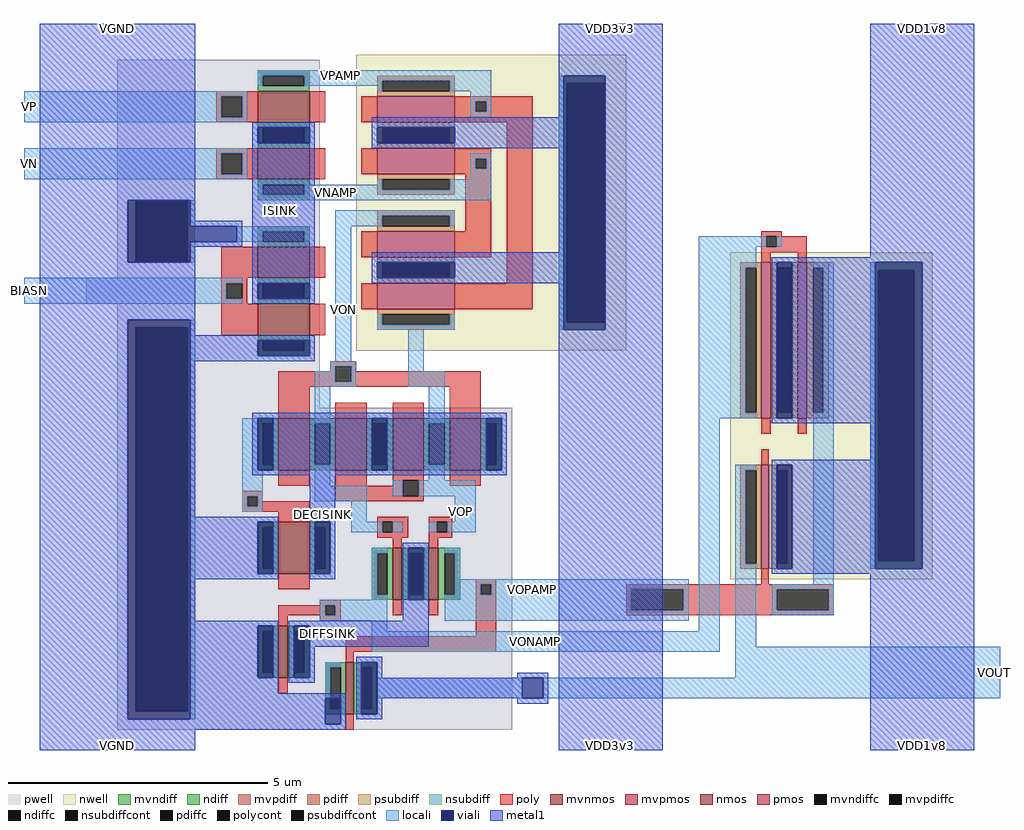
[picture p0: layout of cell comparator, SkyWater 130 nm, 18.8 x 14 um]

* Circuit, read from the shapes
.subckt comparator VGND VDD3v3 VDD1v8 VOUT BIASN VN VP
XM1 ISINK BIASN VGND VGND sky130_fd_pr__nfet_g5v0d10v5 w=1 l=0.6 m=2
XM2 ISINK VN VNAMP VGND sky130_fd_pr__nfet_g5v0d10v5 w=1 l=0.6
XM3 VPAMP VP ISINK VGND sky130_fd_pr__nfet_g5v0d10v5 w=1 l=0.6
XM4 DIFFSINK VONAMP VGND VGND sky130_fd_pr__nfet_01v8 w=1 l=0.18
XM5 DECISINK DECISINK VGND VGND sky130_fd_pr__nfet_g5v0d10v5 w=1 l=0.6
XM6 VON VON DECISINK VGND sky130_fd_pr__nfet_g5v0d10v5 w=1 l=0.6
XM7 DECISINK VOP VON VGND sky130_fd_pr__nfet_g5v0d10v5 w=1 l=0.6
XM8 VOUT VOPAMP VGND VGND sky130_fd_pr__nfet_01v8 w=1 l=0.15
XM9 DIFFSINK VON VONAMP VGND sky130_fd_pr__nfet_01v8 w=1 l=0.18
XM10 VOP VOP DECISINK VGND sky130_fd_pr__nfet_g5v0d10v5 w=1 l=0.6
XM11 VOPAMP VOP DIFFSINK VGND sky130_fd_pr__nfet_01v8 w=1 l=0.18
XM12 DECISINK VON VOP VGND sky130_fd_pr__nfet_g5v0d10v5 w=1 l=0.6
XM13 VDD3v3 VPAMP VOP VDD3v3 sky130_fd_pr__pfet_g5v0d10v5 w=1.5 l=0.5
XM14 VON VNAMP VDD3v3 VDD3v3 sky130_fd_pr__pfet_g5v0d10v5 w=1.5 l=0.5
XM15 VDD3v3 VNAMP VNAMP VDD3v3 sky130_fd_pr__pfet_g5v0d10v5 w=1.5 l=0.5
XM16 VPAMP VPAMP VDD3v3 VDD3v3 sky130_fd_pr__pfet_g5v0d10v5 w=1.5 l=0.5
XM17 VDD1v8 VOPAMP VOUT VDD1v8 sky130_fd_pr__pfet_01v8 w=2 l=0.15
XM18 VDD1v8 VONAMP VONAMP VDD1v8 sky130_fd_pr__pfet_01v8 w=3 l=0.18
XM19 VOPAMP VONAMP VDD1v8 VDD1v8 sky130_fd_pr__pfet_01v8 w=3 l=0.18
.ends

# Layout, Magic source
magic
tech sky130A
<< nwell >>
rect 210 -330 730 240
rect 930 -770 1320 -140
<< pwell >>
rect -250 -190 140 230
rect -310 -240 140 -190
rect -250 -270 140 -240
rect -250 -1040 -230 -270
rect -215 -1025 -115 -285
rect -110 -440 140 -270
rect -110 -1040 510 -440
rect -250 -1060 510 -1040
<< nmos >>
rect 280 -810 298 -710
rect 350 -810 368 -710
rect 60 -960 78 -860
rect 190 -1030 205 -930
<< pmos >>
rect 990 -460 1008 -160
rect 1060 -460 1078 -160
rect 990 -750 1005 -550
<< mvnmos >>
rect 20 110 120 170
rect 20 0 120 60
rect 20 -190 120 -130
rect 20 -300 120 -240
rect 60 -560 120 -460
rect 170 -560 230 -460
rect 280 -560 340 -460
rect 390 -560 450 -460
rect 60 -760 120 -660
<< mvpmos >>
rect 250 110 400 160
rect 250 10 400 60
rect 250 -150 400 -100
rect 250 -250 400 -200
<< ndiff >>
rect 240 -720 280 -710
rect 240 -800 250 -720
rect 270 -800 280 -720
rect 240 -810 280 -800
rect 298 -720 350 -710
rect 298 -800 310 -720
rect 340 -800 350 -720
rect 298 -810 350 -800
rect 368 -720 410 -710
rect 368 -800 380 -720
rect 400 -800 410 -720
rect 368 -810 410 -800
rect 20 -870 60 -860
rect 20 -950 30 -870
rect 50 -950 60 -870
rect 20 -960 60 -950
rect 78 -870 120 -860
rect 78 -950 90 -870
rect 110 -950 120 -870
rect 78 -960 120 -950
rect 150 -940 190 -930
rect 150 -1020 160 -940
rect 180 -1020 190 -940
rect 150 -1030 190 -1020
rect 205 -940 250 -930
rect 205 -1020 220 -940
rect 240 -1020 250 -940
rect 205 -1030 250 -1020
<< pdiff >>
rect 950 -170 990 -160
rect 950 -450 960 -170
rect 980 -450 990 -170
rect 950 -460 990 -450
rect 1008 -170 1060 -160
rect 1008 -450 1020 -170
rect 1050 -450 1060 -170
rect 1008 -460 1060 -450
rect 1078 -170 1120 -160
rect 1078 -450 1090 -170
rect 1110 -450 1120 -170
rect 1078 -460 1120 -450
rect 950 -560 990 -550
rect 950 -740 960 -560
rect 980 -740 990 -560
rect 950 -750 990 -740
rect 1005 -560 1050 -550
rect 1005 -740 1020 -560
rect 1040 -740 1050 -560
rect 1005 -750 1050 -740
<< mvndiff >>
rect 20 200 120 210
rect 20 180 30 200
rect 110 180 120 200
rect 20 170 120 180
rect 20 100 120 110
rect 20 70 30 100
rect 110 70 120 100
rect 20 60 120 70
rect 20 -10 120 0
rect 20 -30 30 -10
rect 110 -30 120 -10
rect 20 -40 120 -30
rect 20 -100 120 -90
rect 20 -120 30 -100
rect 110 -120 120 -100
rect 20 -130 120 -120
rect 20 -200 120 -190
rect 20 -230 30 -200
rect 110 -230 120 -200
rect 20 -240 120 -230
rect 20 -310 120 -300
rect 20 -330 30 -310
rect 110 -330 120 -310
rect 20 -340 120 -330
rect 20 -470 60 -460
rect 20 -550 30 -470
rect 50 -550 60 -470
rect 20 -560 60 -550
rect 120 -470 170 -460
rect 120 -550 130 -470
rect 160 -550 170 -470
rect 120 -560 170 -550
rect 230 -470 280 -460
rect 230 -550 240 -470
rect 270 -550 280 -470
rect 230 -560 280 -550
rect 340 -470 390 -460
rect 340 -550 350 -470
rect 380 -550 390 -470
rect 340 -560 390 -550
rect 450 -470 490 -460
rect 450 -550 460 -470
rect 480 -550 490 -470
rect 450 -560 490 -550
rect 20 -670 60 -660
rect 20 -750 30 -670
rect 50 -750 60 -670
rect 20 -760 60 -750
rect 120 -670 160 -660
rect 120 -750 130 -670
rect 150 -750 160 -670
rect 120 -760 160 -750
<< mvpdiff >>
rect 250 190 400 200
rect 250 170 260 190
rect 390 170 400 190
rect 250 160 400 170
rect 250 100 400 110
rect 250 70 260 100
rect 390 70 400 100
rect 250 60 400 70
rect 250 0 400 10
rect 250 -20 260 0
rect 390 -20 400 0
rect 250 -30 400 -20
rect 250 -70 400 -60
rect 250 -90 260 -70
rect 390 -90 400 -70
rect 250 -100 400 -90
rect 250 -160 400 -150
rect 250 -190 260 -160
rect 390 -190 400 -160
rect 250 -200 400 -190
rect 250 -260 400 -250
rect 250 -280 260 -260
rect 390 -280 400 -260
rect 250 -290 400 -280
<< ndiffc >>
rect 250 -800 270 -720
rect 310 -800 340 -720
rect 380 -800 400 -720
rect 30 -950 50 -870
rect 90 -950 110 -870
rect 160 -1020 180 -940
rect 220 -1020 240 -940
<< pdiffc >>
rect 960 -450 980 -170
rect 1020 -450 1050 -170
rect 1090 -450 1110 -170
rect 960 -740 980 -560
rect 1020 -740 1040 -560
<< mvndiffc >>
rect 30 180 110 200
rect 30 70 110 100
rect 30 -30 110 -10
rect 30 -120 110 -100
rect 30 -230 110 -200
rect 30 -330 110 -310
rect 30 -550 50 -470
rect 130 -550 160 -470
rect 240 -550 270 -470
rect 350 -550 380 -470
rect 460 -550 480 -470
rect 30 -750 50 -670
rect 130 -750 150 -670
<< mvpdiffc >>
rect 260 170 390 190
rect 260 70 390 100
rect 260 -20 390 0
rect 260 -90 390 -70
rect 260 -190 390 -160
rect 260 -280 390 -260
<< psubdiff >>
rect -230 -160 -215 -40
rect -115 -160 -100 -40
rect -230 -285 -100 -270
rect -230 -1025 -215 -285
rect -115 -1025 -100 -285
rect -230 -1040 -100 -1025
<< nsubdiff >>
rect 600 185 690 200
rect 600 -275 615 185
rect 600 -290 690 -275
rect 1200 -175 1300 -160
rect 1200 -735 1215 -175
rect 1285 -735 1300 -175
rect 1200 -750 1300 -735
<< psubdiffcont >>
rect -215 -160 -115 -40
rect -215 -1025 -115 -285
<< nsubdiffcont >>
rect 615 -275 690 185
rect 1215 -735 1285 -175
<< poly >>
rect -60 160 20 170
rect -60 120 -50 160
rect -10 120 20 160
rect -60 110 20 120
rect 120 110 150 170
rect 220 110 250 160
rect 400 150 550 160
rect 400 130 440 150
rect 460 130 550 150
rect 400 110 550 130
rect -60 50 20 60
rect -60 10 -50 50
rect -10 10 20 50
rect -60 0 20 10
rect 120 0 150 60
rect 220 10 250 60
rect 400 40 470 60
rect 400 20 440 40
rect 460 20 470 40
rect 400 10 470 20
rect 420 -100 470 10
rect -50 -190 20 -130
rect 120 -190 150 -130
rect 220 -150 250 -100
rect 400 -150 470 -100
rect -50 -200 0 -190
rect -50 -230 -40 -200
rect -10 -230 0 -200
rect -50 -240 0 -230
rect 500 -200 550 110
rect -50 -300 20 -240
rect 120 -300 150 -240
rect 220 -250 250 -200
rect 400 -250 550 -200
rect 990 -110 1030 -100
rect 990 -130 1000 -110
rect 1020 -130 1078 -110
rect 990 -140 1078 -130
rect 990 -160 1008 -140
rect 1060 -160 1078 -140
rect 160 -360 210 -350
rect 160 -370 170 -360
rect 60 -390 170 -370
rect 200 -370 210 -360
rect 200 -390 450 -370
rect 60 -400 450 -390
rect 60 -460 120 -400
rect 170 -460 230 -430
rect 280 -460 340 -430
rect 390 -460 450 -400
rect 990 -490 1008 -460
rect 1060 -490 1078 -460
rect 990 -550 1005 -520
rect 60 -590 120 -560
rect 170 -590 230 -560
rect 280 -580 340 -560
rect 280 -590 300 -580
rect -10 -610 30 -600
rect -10 -630 0 -610
rect 20 -620 30 -610
rect 170 -610 300 -590
rect 330 -610 340 -580
rect 390 -590 450 -560
rect 170 -620 340 -610
rect 20 -630 120 -620
rect -10 -640 120 -630
rect 60 -660 120 -640
rect 250 -660 310 -650
rect 250 -680 260 -660
rect 280 -680 310 -660
rect 250 -690 310 -680
rect 350 -660 395 -650
rect 350 -680 365 -660
rect 385 -680 395 -660
rect 350 -690 395 -680
rect 280 -710 298 -690
rect 350 -710 368 -690
rect 60 -790 120 -760
rect 440 -780 480 -770
rect 990 -780 1005 -750
rect 440 -800 450 -780
rect 470 -800 480 -780
rect 140 -820 180 -810
rect 60 -840 150 -820
rect 170 -840 180 -820
rect 280 -840 298 -810
rect 350 -840 368 -810
rect 60 -860 78 -840
rect 140 -850 180 -840
rect 440 -880 480 -800
rect 730 -790 1130 -780
rect 730 -830 740 -790
rect 840 -830 1020 -790
rect 1120 -830 1130 -790
rect 730 -840 1130 -830
rect 190 -910 480 -880
rect 190 -930 205 -910
rect 60 -990 78 -960
rect 190 -1060 205 -1030
<< polycont >>
rect -50 120 -10 160
rect 440 130 460 150
rect -50 10 -10 50
rect 440 20 460 40
rect -40 -230 -10 -200
rect 1000 -130 1020 -110
rect 170 -390 200 -360
rect 0 -630 20 -610
rect 300 -610 330 -580
rect 260 -680 280 -660
rect 365 -680 385 -660
rect 450 -800 470 -780
rect 150 -840 170 -820
rect 740 -830 840 -790
rect 1020 -830 1120 -790
<< locali >>
rect 20 200 470 210
rect 20 180 30 200
rect 110 190 470 200
rect 110 180 260 190
rect 250 170 260 180
rect 390 170 470 190
rect -430 160 0 170
rect -430 120 -50 160
rect -10 120 0 160
rect 430 150 470 170
rect 430 130 440 150
rect 460 130 470 150
rect 430 120 470 130
rect -430 110 0 120
rect -430 50 0 60
rect -430 10 -50 50
rect -10 10 0 50
rect -430 0 0 10
rect 430 40 470 50
rect 430 20 440 40
rect 460 20 470 40
rect 430 0 470 20
rect 250 -10 260 0
rect 20 -30 30 -10
rect 110 -20 260 -10
rect 390 -20 470 0
rect 110 -30 470 -20
rect 20 -40 470 -30
rect -110 -90 -100 -40
rect 170 -70 400 -60
rect 170 -90 260 -70
rect 390 -90 400 -70
rect -20 -100 120 -90
rect -20 -120 30 -100
rect 110 -120 120 -100
rect -110 -160 -100 -120
rect -430 -200 -10 -190
rect -430 -230 -40 -200
rect -430 -240 -10 -230
rect -110 -1040 -100 -270
rect 170 -350 200 -90
rect 250 -280 260 -260
rect 390 -280 400 -260
rect 250 -290 400 -280
rect 600 -290 610 200
rect 870 -130 1000 -110
rect 1020 -130 1030 -110
rect 870 -170 980 -130
rect 160 -360 210 -350
rect 160 -370 170 -360
rect 130 -390 170 -370
rect 200 -390 210 -360
rect 130 -400 210 -390
rect 310 -370 340 -290
rect 310 -400 380 -370
rect -10 -560 20 -460
rect 130 -470 160 -400
rect -10 -610 30 -560
rect -10 -630 0 -610
rect 20 -630 30 -610
rect 130 -590 160 -550
rect 350 -470 380 -400
rect 870 -450 960 -170
rect 870 -460 980 -450
rect 1090 -170 1130 -160
rect 1110 -450 1130 -170
rect 350 -580 380 -550
rect 130 -620 230 -590
rect 280 -610 300 -580
rect 330 -610 440 -580
rect -10 -640 30 -630
rect 200 -660 230 -620
rect 400 -660 440 -610
rect 200 -680 260 -660
rect 280 -680 300 -660
rect 350 -680 365 -660
rect 385 -680 440 -660
rect 240 -720 270 -710
rect 240 -800 250 -720
rect 240 -810 270 -800
rect 380 -720 410 -710
rect 400 -770 410 -720
rect 400 -780 850 -770
rect 400 -800 450 -780
rect 470 -790 850 -780
rect 470 -800 740 -790
rect 140 -820 270 -810
rect 140 -840 150 -820
rect 170 -840 270 -820
rect 140 -850 270 -840
rect 380 -830 740 -800
rect 840 -830 850 -790
rect 380 -850 850 -830
rect 240 -870 270 -850
rect 870 -870 910 -460
rect 240 -910 910 -870
rect 940 -560 980 -550
rect 940 -740 960 -560
rect 940 -900 980 -740
rect 1090 -780 1130 -450
rect 1200 -750 1210 -160
rect 1010 -790 1130 -780
rect 1010 -830 1020 -790
rect 1120 -830 1130 -790
rect 1010 -840 1130 -830
rect 150 -940 180 -930
rect 150 -1000 160 -940
rect 940 -960 1450 -900
rect 250 -1000 530 -960
rect 570 -1000 1450 -960
<< viali >>
rect 20 70 30 100
rect 30 70 110 100
rect 110 70 120 100
rect 250 70 260 100
rect 260 70 390 100
rect 390 70 400 100
rect -230 -160 -215 -40
rect -215 -160 -115 -40
rect -115 -90 -110 -40
rect -115 -120 -20 -90
rect -115 -160 -110 -120
rect 20 -230 30 -200
rect 30 -230 110 -200
rect 110 -230 120 -200
rect -230 -285 -110 -270
rect -230 -1025 -215 -285
rect -215 -1025 -115 -285
rect -115 -1025 -110 -285
rect -230 -1040 -110 -1025
rect 20 -330 30 -310
rect 30 -330 110 -310
rect 110 -330 120 -310
rect 20 -340 120 -330
rect 250 -190 260 -160
rect 260 -190 390 -160
rect 390 -190 400 -160
rect 610 185 690 200
rect 610 -275 615 185
rect 615 -275 690 185
rect 610 -290 690 -275
rect 20 -470 50 -460
rect 20 -550 30 -470
rect 30 -550 50 -470
rect 20 -560 50 -550
rect 240 -470 270 -460
rect 240 -550 270 -470
rect 240 -560 270 -550
rect 1020 -170 1050 -160
rect 1020 -450 1050 -170
rect 1020 -460 1050 -450
rect 460 -470 490 -460
rect 460 -550 480 -470
rect 480 -550 490 -470
rect 460 -560 490 -550
rect 20 -670 50 -660
rect 20 -750 30 -670
rect 30 -750 50 -670
rect 20 -760 50 -750
rect 130 -670 160 -660
rect 130 -750 150 -670
rect 150 -750 160 -670
rect 130 -760 160 -750
rect 310 -720 340 -710
rect 310 -800 340 -720
rect 310 -810 340 -800
rect 20 -870 50 -860
rect 20 -950 30 -870
rect 30 -950 50 -870
rect 20 -960 50 -950
rect 90 -870 120 -860
rect 90 -950 110 -870
rect 110 -950 120 -870
rect 1020 -560 1050 -550
rect 1020 -740 1040 -560
rect 1040 -740 1050 -560
rect 1020 -750 1050 -740
rect 1210 -175 1300 -160
rect 1210 -735 1215 -175
rect 1215 -735 1285 -175
rect 1285 -735 1300 -175
rect 1210 -750 1300 -735
rect 90 -960 120 -950
rect 150 -1020 160 -1000
rect 160 -1020 180 -1000
rect 150 -1050 180 -1020
rect 220 -940 250 -930
rect 220 -1020 240 -940
rect 240 -1020 250 -940
rect 530 -1000 570 -960
rect 220 -1030 250 -1020
<< metal1 >>
rect -400 -40 -100 300
rect 600 200 800 300
rect 600 120 610 200
rect -400 -160 -230 -40
rect -110 -80 -100 -40
rect 10 100 130 110
rect 10 70 20 100
rect 120 70 130 100
rect -110 -90 -10 -80
rect -20 -120 -10 -90
rect -110 -130 -10 -120
rect -110 -160 -100 -130
rect -400 -270 -100 -160
rect 10 -200 130 70
rect 240 100 610 120
rect 240 70 250 100
rect 400 70 610 100
rect 240 60 610 70
rect 600 -140 610 60
rect 240 -160 610 -140
rect 240 -190 250 -160
rect 400 -190 610 -160
rect 240 -200 610 -190
rect 10 -230 20 -200
rect 120 -230 130 -200
rect 10 -240 130 -230
rect -400 -1040 -230 -270
rect -110 -300 -100 -270
rect 600 -290 610 -200
rect 690 -290 800 200
rect 1200 -150 1400 300
rect -110 -310 130 -300
rect -110 -340 20 -310
rect 120 -340 130 -310
rect -110 -350 130 -340
rect -110 -650 -100 -350
rect 10 -460 500 -450
rect 10 -560 20 -460
rect 50 -560 240 -460
rect 270 -560 460 -460
rect 490 -560 500 -460
rect 10 -570 500 -560
rect -110 -660 60 -650
rect -110 -760 20 -660
rect 50 -760 60 -660
rect -110 -770 60 -760
rect 120 -660 170 -570
rect 120 -760 130 -660
rect 160 -760 170 -660
rect 120 -770 170 -760
rect 300 -710 350 -700
rect -110 -850 -100 -770
rect 300 -810 310 -710
rect 340 -810 350 -710
rect 300 -850 350 -810
rect -110 -860 60 -850
rect -110 -960 20 -860
rect 50 -960 60 -860
rect -110 -990 60 -960
rect 80 -860 350 -850
rect 80 -960 90 -860
rect 120 -900 350 -860
rect 120 -960 130 -900
rect 80 -970 130 -960
rect 210 -930 260 -920
rect -110 -1000 190 -990
rect -110 -1040 150 -1000
rect -400 -1050 150 -1040
rect 180 -1050 190 -1000
rect 210 -1030 220 -930
rect 250 -960 260 -930
rect 520 -960 580 -950
rect 250 -1000 530 -960
rect 570 -1000 580 -960
rect 250 -1030 260 -1000
rect 520 -1010 580 -1000
rect 210 -1040 260 -1030
rect -400 -1060 190 -1050
rect -400 -1100 -100 -1060
rect 600 -1100 800 -290
rect 1010 -160 1400 -150
rect 1010 -460 1020 -160
rect 1050 -460 1210 -160
rect 1010 -470 1210 -460
rect 1200 -540 1210 -470
rect 1010 -550 1210 -540
rect 1010 -750 1020 -550
rect 1050 -750 1210 -550
rect 1300 -750 1400 -160
rect 1010 -760 1400 -750
rect 1200 -1100 1400 -760
<< labels >>
rlabel metal1 -400 -1100 -100 -1080 1 VGND
port 1 n
rlabel metal1 600 -1100 800 -1080 1 VDD3v3
port 2 n
rlabel metal1 1200 -1100 1400 -1080 1 VDD1v8
port 3 n
rlabel locali 540 -800 560 -780 1 VOPAMP
rlabel locali 400 -650 420 -630 1 VOP
rlabel locali 170 190 190 210 1 VPAMP
rlabel locali 160 -30 180 -20 1 VNAMP
rlabel locali 180 -260 190 -240 1 VON
rlabel metal1 50 -70 80 -50 1 ISINK
rlabel metal1 140 -650 150 -640 1 DECISINK
rlabel locali 540 -900 570 -880 1 VONAMP
rlabel metal1 140 -890 170 -860 1 DIFFSINK
rlabel metal1 -400 280 -100 300 1 VGND
port 1 n
rlabel locali -430 110 -410 170 1 VP
port 7 n
rlabel locali -430 0 -410 60 1 VN
port 6 n
rlabel locali -430 -240 -410 -190 1 BIASN
port 5 n
rlabel locali 1430 -1000 1450 -900 1 VOUT
port 4 n
rlabel metal1 600 280 800 300 1 VDD3v3
port 2 n
rlabel metal1 1200 280 1400 300 1 VDD1v8
port 3 n
<< end >>
